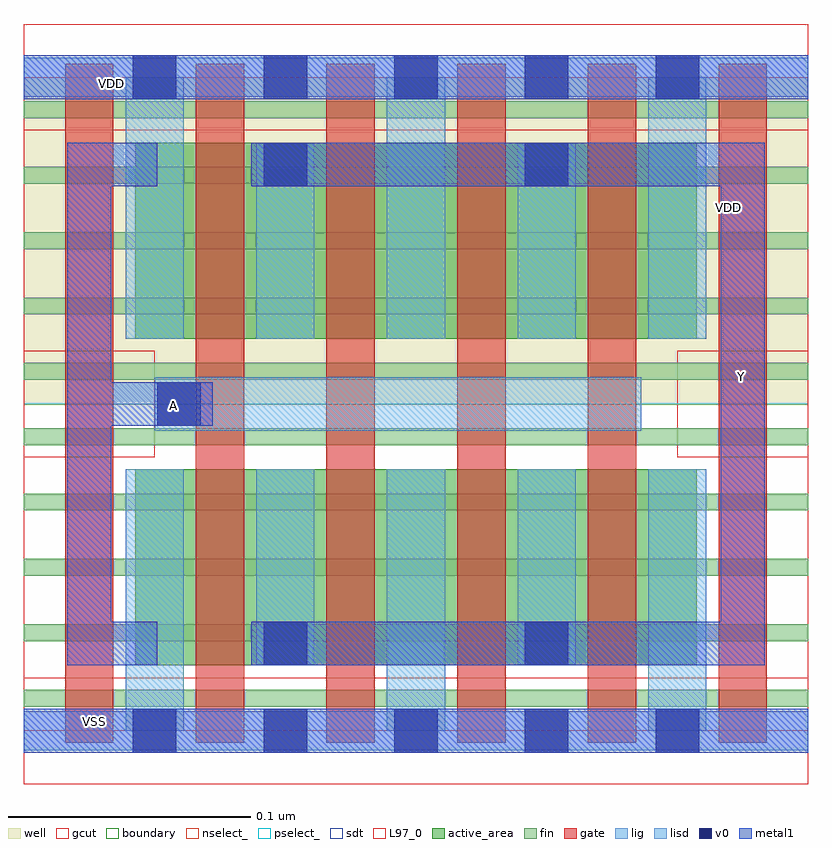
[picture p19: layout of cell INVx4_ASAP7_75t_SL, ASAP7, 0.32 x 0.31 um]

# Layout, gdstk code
import gdstk
lib = gdstk.Library(unit=1e-6, precision=2.5e-10)
def R(c, l, rs):  # rectangles x0, y0, x1, y1
    for r in rs: c.add(gdstk.rectangle(r[:2], r[2:], *l))
def A(c, l, x, y, w, h, nx, ny, dx, dy):  # array of equal rectangles
    R(c, l, [(x+i*dx, y+j*dy, x+i*dx+w, y+j*dy+h) for i in range(nx) for j in range(ny)])
def P(c, l, *ps):  # polygons
    for p in ps: c.add(gdstk.Polygon(p, *l))
well = (1, 0)
fin = (2, 0)
gate = (7, 0)
gcut = (10, 0)
active_area = (11, 0)
nselect_ = (12, 0)
pselect_ = (13, 0)
lig = (16, 0)
lisd = (17, 0)
v0 = (18, 0)
metal1 = (19, 0)
sdt = (88, 0)
L97_0 = (97, 0)
boundary = (100, 0)

invx4_asap7_75t_sl = lib.new_cell('INVx4_ASAP7_75t_SL')
R(invx4_asap7_75t_sl, well, [(0,0.135,0.324,0.27)])
A(invx4_asap7_75t_sl, fin, 0, 0.01, 0.324, 0.007, 1, 10, 0, 0.027)
A(invx4_asap7_75t_sl, gate, 0.017, -0.005, 0.02, 0.2805, 6, 1, 0.054, 0)
R(invx4_asap7_75t_sl, gcut, [(0,-0.022,0.324,0.022), (0,0.113,0.054,0.157), (0.27,0.113,0.324,0.157), (0,0.248,0.324,0.292)])
R(invx4_asap7_75t_sl, active_area, [(0.046,0.027,0.278,0.108), (0.046,0.162,0.278,0.243)])
R(invx4_asap7_75t_sl, nselect_, [(0,0,0.324,0.135)])
R(invx4_asap7_75t_sl, pselect_, [(0,0.135,0.324,0.27)])
R(invx4_asap7_75t_sl, lig, [(0,-0.008,0.324,0.008), (0.054,0.124,0.255,0.146), (0,0.262,0.324,0.278)])
A(invx4_asap7_75t_sl, lisd, 0.042, 0, 0.024, 0.108, 3, 2, 0.108, 0.162)
R(invx4_asap7_75t_sl, lisd, [(0.096,0.027,0.12,0.108), (0.204,0.027,0.228,0.108), (0.096,0.162,0.12,0.243), (0.204,0.162,0.228,0.243)])
A(invx4_asap7_75t_sl, v0, 0.045, -0.009, 0.018, 0.018, 5, 2, 0.054, 0.27)
R(invx4_asap7_75t_sl, v0, [(0.099,0.027,0.117,0.045), (0.207,0.027,0.225,0.045), (0.055,0.126,0.073,0.144), (0.099,0.225,0.117,0.243), (0.207,0.225,0.225,0.243)])
R(invx4_asap7_75t_sl, metal1, [(0,-0.009,0.324,0.009), (0,0.261,0.324,0.279)])
P(invx4_asap7_75t_sl, metal1, [(0.078,0.144),(0.036,0.144),(0.036,0.225),(0.055,0.225),(0.055,0.243),(0.018,0.243),(0.018,0.027),(0.055,0.027),(0.055,0.045),(0.036,0.045),(0.036,0.126),(0.078,0.126)],
  [(0.306,0.243),(0.094,0.243),(0.094,0.225),(0.288,0.225),(0.288,0.045),(0.094,0.045),(0.094,0.027),(0.306,0.027)])
A(invx4_asap7_75t_sl, sdt, 0.042, 0.027, 0.024, 0.081, 5, 2, 0.054, 0.135)
R(invx4_asap7_75t_sl, L97_0, [(0,0,0.324,0.27)])
R(invx4_asap7_75t_sl, boundary, [(0,0,0.324,0.27)])
invx4_asap7_75t_sl.add(gdstk.Label('VDD', (0.291,0.216), layer=1, texttype=251))
invx4_asap7_75t_sl.add(gdstk.Label('VSS', (0.029,0.004), layer=19, texttype=251))
invx4_asap7_75t_sl.add(gdstk.Label('VDD', (0.036,0.2675), layer=19, texttype=251))
invx4_asap7_75t_sl.add(gdstk.Label('A', (0.062,0.1345), layer=19, texttype=251))
invx4_asap7_75t_sl.add(gdstk.Label('Y', (0.2965,0.1465), layer=19, texttype=251))
invx4_asap7_75t_sl.add(gdstk.Label('VSS', (0.36,0.215), layer=3, texttype=251))

lib.write_gds('INVx4_ASAP7_75t_SL.gds')
